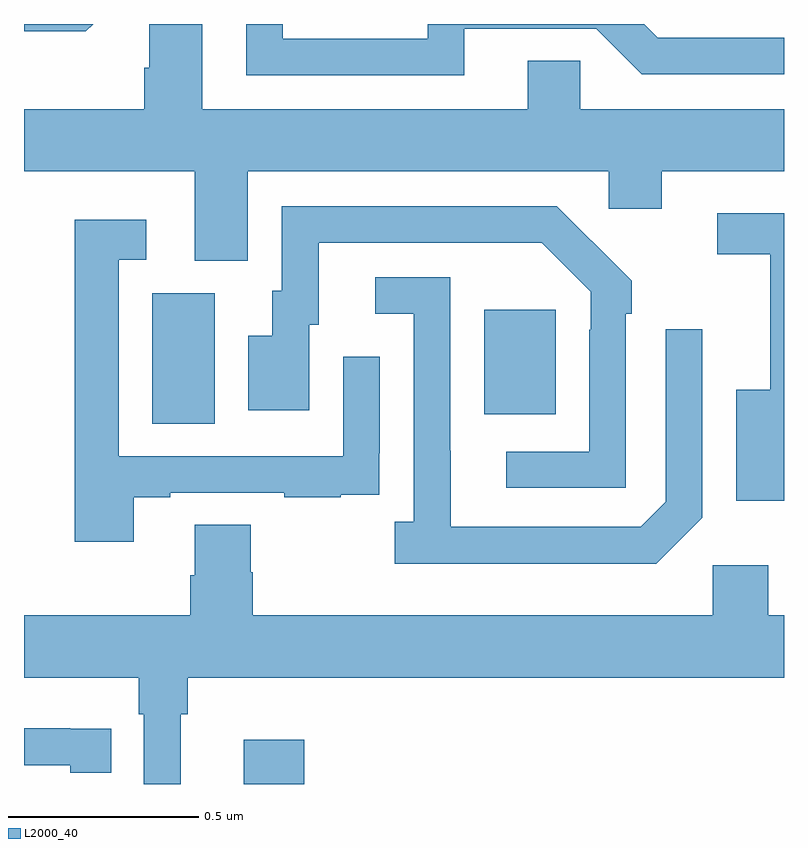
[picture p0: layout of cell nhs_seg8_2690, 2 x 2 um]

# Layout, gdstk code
import gdstk
lib = gdstk.Library(unit=1e-6, precision=1e-09)
def R(c, l, rs):  # rectangles x0, y0, x1, y1
    for r in rs: c.add(gdstk.rectangle(r[:2], r[2:], *l))
def P(c, l, *ps):  # polygons
    for p in ps: c.add(gdstk.Polygon(p, *l))
L2000_40 = (2000, 40)

nhs_seg8_2690 = lib.new_cell('nhs_seg8_2690')
R(nhs_seg8_2690, L2000_40, [(147.578,1102.9,147.737,1103.017), (147.338,1103.848,147.502,1104.192), (148.211,1103.873,148.399,1104.148)])
P(nhs_seg8_2690, L2000_40, [(147.182,1104.9),(147,1104.9),(147,1104.881),(147.163,1104.881)],
  [(147.589,1104.512),(148.539,1104.512),(148.539,1104.414),(148.678,1104.414),(148.678,1104.512),(149,1104.512),(149,1104.676),(148.464,1104.676),(148.464,1104.803),(148.325,1104.803),(148.325,1104.676),(147.469,1104.676),(147.469,1104.9),(147.33,1104.9),(147.33,1104.785),(147.317,1104.785),(147.317,1104.676),(147,1104.676),(147,1104.512),(147.449,1104.512),(147.449,1104.277),(147.589,1104.277)],
  [(148.159,1104.888),(148.506,1104.888),(148.626,1104.768),(149,1104.768),(149,1104.864),(148.668,1104.864),(148.632,1104.9),(148.062,1104.9),(148.062,1104.861),(147.681,1104.861),(147.681,1104.9),(147.585,1104.9),(147.585,1104.765),(148.159,1104.765)],
  [(148.584,1104.137),(148.599,1104.137),(148.599,1104.225),(148.494,1104.33),(148.493,1104.329),(148.402,1104.42),(147.678,1104.42),(147.678,1104.198),(147.653,1104.198),(147.653,1104.079),(147.59,1104.079),(147.59,1103.883),(147.751,1103.883),(147.751,1104.108),(147.775,1104.108),(147.775,1104.324),(148.363,1104.324),(148.491,1104.195),(148.491,1104.095),(148.488,1104.095),(148.488,1103.775),(148.269,1103.775),(148.269,1103.679),(148.584,1103.679)],
  [(149,1104.402),(148.824,1104.402),(148.824,1104.294),(148.964,1104.294),(148.964,1103.938),(148.874,1103.938),(148.874,1103.645),(149,1103.645)],
  [(147.289,1103.655),(147.385,1103.655),(147.385,1103.667),(147.685,1103.667),(147.685,1103.655),(147.833,1103.655),(147.833,1103.661),(147.935,1103.661),(147.935,1103.77),(147.936,1103.77),(147.936,1104.025),(147.84,1104.025),(147.84,1103.763),(147.249,1103.763),(147.249,1104.279),(147.322,1104.279),(147.322,1104.385),(147.133,1104.385),(147.133,1103.538),(147.289,1103.538)],
  [(148.785,1103.601),(148.785,1104.097),(148.689,1104.097),(148.689,1103.643),(148.623,1103.577),(148.123,1103.577),(148.123,1103.777),(148.122,1103.777),(148.122,1104.234),(147.924,1104.234),(147.924,1104.138),(148.026,1104.138),(148.026,1103.59),(147.975,1103.59),(147.975,1103.48),(148.664,1103.48)],
  [(147.412,1103.084),(147.431,1103.084),(147.431,1103.18),(149,1103.18),(149,1103.344),(148.959,1103.344),(148.959,1103.476),(148.812,1103.476),(148.812,1103.344),(147.602,1103.344),(147.602,1103.457),(147.597,1103.457),(147.597,1103.582),(147.449,1103.582),(147.449,1103.45),(147.437,1103.45),(147.437,1103.344),(147,1103.344),(147,1103.18),(147.302,1103.18),(147.302,1103.084),(147.315,1103.084),(147.315,1102.9),(147.412,1102.9)],
  [(147.23,1103.046),(147.122,1103.046),(147.122,1103.047),(147,1103.047),(147,1102.95),(147.122,1102.95),(147.122,1102.93),(147.23,1102.93)])

lib.write_gds('nhs_seg8_2690.gds')
